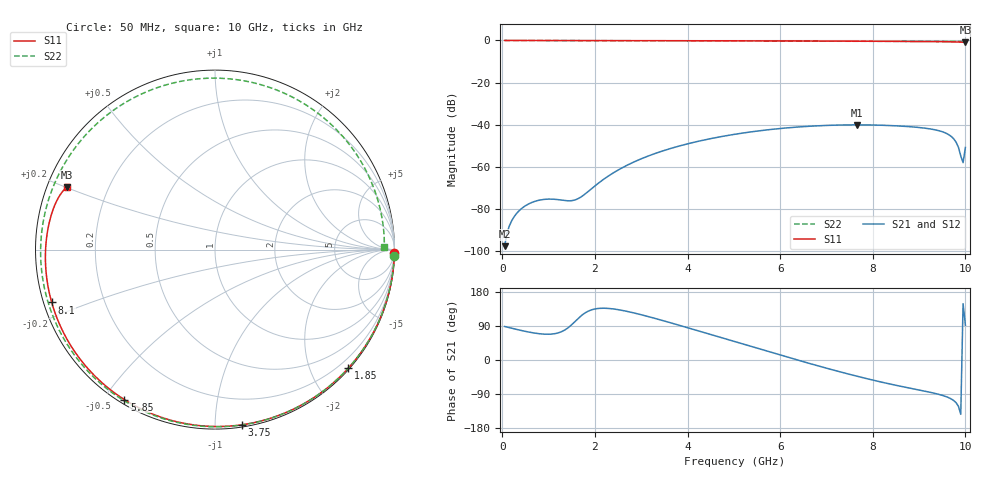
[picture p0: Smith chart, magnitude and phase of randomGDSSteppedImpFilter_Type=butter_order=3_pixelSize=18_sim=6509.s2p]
! freq	dB(S11)	phase(S11)	dB(S12)	phase(S12)
!  dB(S21)	phase(S21)	dB(S22)	phase(S22)
!S-par simulation data
#  GHz  S  DB  R 50
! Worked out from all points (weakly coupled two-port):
!   200 points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, 50 MHz to 10 GHz, reference 50 ohm
!   highest |S21| = -40.00 dB at 7.65 GHz (marker M1); lowest = -97.5 dB at 50 MHz (marker M2)
!   lowest |S11| = -1.0 dB at 10 GHz (marker M3), VSWR 18.28, Z = 2.85 + j10.1 ohm
!   |S11| at or under -10 dB: nowhere
!   |S22| runs from -0.5 to 0.0 dB; largest |S21 - S12| = 0
!   S11 on the Smith chart (normalised r, x): 50 MHz: open; 1.85 GHz: 0.02, -2.63; 3.75 GHz: 0.01, -1.17; 5.85 GHz: 0.02, -0.56; 8.1 GHz: 0.02, -0.16; 10 GHz: 0.06, +0.20
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0.05  -0.00 -1.2  -97.50 88.5  -97.50 88.5  -0.00 -2.0
0.4  -0.01 -9.2  -79.97 78.1  -79.97 78.1  -0.02 -15.6
0.8  -0.02 -18.2  -75.69 69.3  -75.69 69.3  -0.04 -31.1
1.5  -0.04 -33.9  -75.92 93.3  -75.92 93.3  -0.07 -57.5
1.75  -0.05 -39.4  -73.41 121.1  -73.41 121.1  -0.08 -66.7
1.85  -0.05 -41.6  -71.67 128.5  -71.67 128.5  -0.09 -70.4
2.55  -0.07 -56.6  -60.81 131.8  -60.81 131.8  -0.12 -95.3
3.4  -0.10 -74.2  -52.82 106.3  -52.82 106.3  -0.16 -124.4
3.75  -0.11 -81.3  -50.46 94.1  -50.46 94.1  -0.17 -136.1
4.4  -0.13 -94.0  -46.98 70.8  -46.98 70.8  -0.21 -157.8
5.05  -0.16 -106.3  -44.36 47.3  -44.36 47.3  -0.25 -179.6
5.85  -0.21 -121.1  -42.06 18.4  -42.06 18.4  -0.30 152.9
6.7  -0.26 -136.6  -40.57 -11.4  -40.57 -11.4  -0.36 122.3
7.2  -0.30 -145.6  -40.13 -28.2  -40.13 -28.2  -0.38 103.6
7.65  -0.34 -153.8  -40.00 -42.5  -40.00 -42.5  -0.40 86.5
8.1  -0.39 -162.1  -40.12 -55.9  -40.12 -55.9  -0.42 69.3
8.35  -0.42 -166.7  -40.30 -62.8  -40.30 -62.8  -0.42 59.8
9  -0.50 -179.3  -41.25 -79.2  -41.25 -79.2  -0.44 35.5
9.6  -0.61 168.1  -44.15 -97.4  -44.15 -97.4  -0.47 14.1
9.8  -0.69 163.2  -48.25 -112.9  -48.25 -112.9  -0.48 7.3
9.95  -0.85 158.8  -57.92 148.6  -57.92 148.6  -0.50 2.3
10  -0.95 157.1  -50.71 91.7  -50.71 91.7  -0.50 0.7
